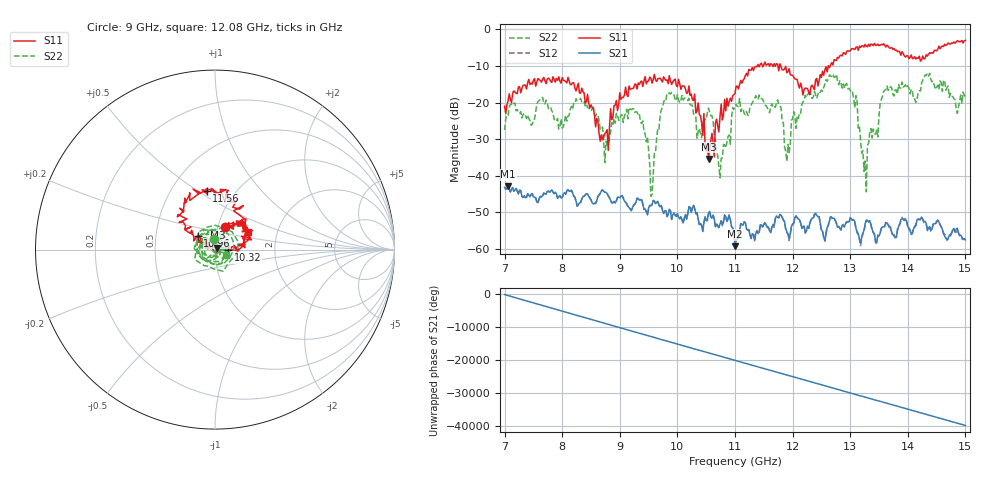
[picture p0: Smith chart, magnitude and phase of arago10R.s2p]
!Keysight Technologies,N5242B,MY47200105,A.14.00.23
!Date: Friday, April 26, 2024 11:21:41
!Correction: S11(C  2-Port  )
!S21(C  2-Port  )
!S12(C  2-Port  )
!S22(C  2-Port  )
!S2P File: Measurement: :
# Hz S  RI  R 50
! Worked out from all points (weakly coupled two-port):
!   401 points, 7 GHz to 15 GHz, reference 50 ohm
!   highest |S21| = -42.95 dB at 7.06 GHz (marker M1); lowest = -59.3 dB at 11 GHz (marker M2)
!   lowest |S11| = -35.4 dB at 10.54 GHz (marker M3), VSWR 1.03, Z = 51.4 + j1.04 ohm
!   |S11| at or under -10 dB: start of sweep to 11.39 GHz; 11.41362 GHz to 11.42587 GHz (12.25 MHz wide, 0.107 % of centre); 11.79 GHz to 12.62 GHz (823.9 MHz wide, 6.75 % of centre) (the widest 3 of 9)
!   |S22| runs from -45.6 to -12.0 dB; largest |S21 - S12| = 0.00025
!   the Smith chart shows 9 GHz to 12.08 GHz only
!   S11 on the Smith chart (normalised r, x): 9 GHz: 1.08, +0.28; 10.32 GHz: 1.16, -0.00; 10.96 GHz: 0.81, +0.13; 11.56 GHz: 0.74, +0.55; 12.08 GHz: 1.41, +0.29
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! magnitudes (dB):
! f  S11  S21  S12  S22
! 7 GHz  -21.0  -43.2  -43.2  -27.5
! 7.06 GHz  -19.6  -42.9  -43.0  -23.5
! 8.34 GHz  -16.1  -46.4  -46.4  -19.8
! 8.68 GHz  -28.8  -44.1  -44.2  -27.3
! 9 GHz  -17.3  -46.1  -46.1  -24.9
! 9.36 GHz  -14.3  -46.6  -46.6  -25.3
! 9.56 GHz  -14.7  -48.0  -47.9  -45.1
! 9.68 GHz  -13.4  -48.1  -48.1  -27.3
! 9.88 GHz  -14.1  -49.6  -49.7  -17.7
! 10.32 GHz  -22.8  -50.4  -50.4  -24.0
! 10.54 GHz  -35.4  -50.4  -50.3  -21.5
! 10.74 GHz  -23.7  -53.2  -53.5  -40.6
! 10.96 GHz  -18.1  -54.3  -54.3  -21.4
! 11 GHz  -17.5  -59.3  -59.0  -20.9
! 11.56 GHz  -9.6  -54.2  -53.9  -21.4
! 11.9 GHz  -11.8  -55.3  -55.6  -36.1
! 12.08 GHz  -13.7  -51.4  -51.5  -23.6
! 12.34 GHz  -15.2  -51.6  -51.6  -18.9
! 12.96 GHz  -5.8  -52.6  -52.6  -16.2
! 13.24 GHz  -4.8  -54.9  -55.3  -38.8
! 13.68 GHz  -5.1  -53.9  -54.2  -16.4
! 15 GHz  -3.0  -57.6  -57.3  -18.7
